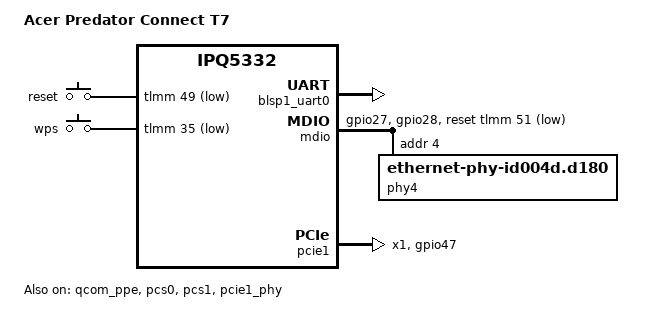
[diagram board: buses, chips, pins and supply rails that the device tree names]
/dts-v1/;

#include <arm64/qcom/ipq5332.dtsi>
#include <dt-bindings/gpio/gpio.h>
#include <dt-bindings/input/input.h>
#include <dt-bindings/leds/common.h>

/ {
	model = "Acer Predator Connect T7";
	compatible = "acer,predator-t7", "qcom,ipq5332-ap-mi01.6", "qcom,ipq5332";

	aliases {
		serial0 = &blsp1_uart0;
		ethernet0 = &xgmac2;
		ethernet1 = &xgmac1;
	};

	chosen {
		bootargs = "console=ttyMSM0,115200n8";
		stdout-path = "serial0:115200n8";
	};

	keys {
		compatible = "gpio-keys";

		pinctrl-0 = <&button_pins>;
		pinctrl-names = "default";

		reset-button {
			label = "reset";
			linux,code = <KEY_RESTART>;
			gpios = <&tlmm 49 GPIO_ACTIVE_LOW>;
			debounce-interval = <60>;
		};

		wps-button {
			label = "wps";
			linux,code = <KEY_WPS_BUTTON>;
			gpios = <&tlmm 35 GPIO_ACTIVE_LOW>;
			debounce-interval = <60>;
		};
	};
};

&blsp1_uart0 {
	pinctrl-0 = <&serial_0_pins>;
	pinctrl-names = "default";
	status = "okay";
};

&sleep_clk {
	clock-frequency = <32000>;
};

&xo_board {
	clock-frequency = <24000000>;
};

&qcom_ppe {
	status = "okay";

	ethernet-ports {
		#address-cells = <1>;
		#size-cells = <0>;

		xgmac1: port@1 {
			reg = <1>;
			phy-mode = "2500basex";
			managed = "in-band-status";
			label = "lan";
			pcs-handle = <&pcs0_ch0>;
			local-mac-address = [00 00 00 00 00 00];
			clocks = <&nsscc NSS_CC_PORT1_MAC_CLK>,
				 <&nsscc NSS_CC_PORT1_RX_CLK>,
				 <&nsscc NSS_CC_PORT1_TX_CLK>;
			clock-names = "mac",
				      "rx",
				      "tx";
			resets = <&nsscc NSS_CC_PORT1_MAC_CLK_ARES>,
				 <&nsscc NSS_CC_PORT1_RX_CLK_ARES>,
				 <&nsscc NSS_CC_PORT1_TX_CLK_ARES>;
			reset-names = "mac",
				      "rx",
				      "tx";
		};

		xgmac2: port@2 {
			reg = <2>;
			phy-mode = "2500basex";
			managed = "in-band-status";
			label = "wan";
			phy-handle = <&phy4>;
			pcs-handle = <&pcs1_ch0>;
			local-mac-address = [00 00 00 00 00 00];
			clocks = <&nsscc NSS_CC_PORT2_MAC_CLK>,
				 <&nsscc NSS_CC_PORT2_RX_CLK>,
				 <&nsscc NSS_CC_PORT2_TX_CLK>;
			clock-names = "mac",
				      "rx",
				      "tx";
			resets = <&nsscc NSS_CC_PORT2_MAC_CLK_ARES>,
				 <&nsscc NSS_CC_PORT2_RX_CLK_ARES>,
				 <&nsscc NSS_CC_PORT2_TX_CLK_ARES>;
			reset-names = "mac",
				      "rx",
				      "tx";
		};
	};
};

&pcs0 {
	status = "okay";
};

&pcs1 {
	status = "okay";
};

&mdio {
	status = "okay";

	pinctrl-names = "default";
	pinctrl-0 = <&mdio1_pins>;
	reset-gpios = <&tlmm 51 GPIO_ACTIVE_LOW>;

	phy4: ethernet-phy@4 {
		compatible = "ethernet-phy-id004d.d180";
		reg = <4>;
	};
};

&pcie1 {
	status = "okay";
	num-lanes = <1>;

	perst-gpios = <&tlmm 47 GPIO_ACTIVE_LOW>;
	wake-gpios = <&tlmm 48 GPIO_ACTIVE_LOW>;
	pinctrl-names = "default";
	pinctrl-0 = <&pcie1_pins>;

	pcie@0 {
		wifi@0,0 {
			reg = <0x00010000 0 0 0 0>;
			qcom,ath12k-board-id = <4117>;
		};
	};
};

&pcie1_phy {
	reg = <0x004b1000 0x800>;
	num-lanes = <1>;

	qti,multiplexed-phy;
	phy-ahb-shared-reset;

	status = "okay";
};

&tlmm {
	button_pins: button-state {
		pins = "gpio35", "gpio49";
		function = "gpio";
		drive-strength = <8>;
		bias-pull-up;
	};

	mdio1_pins: mdio1-state {
		mux_0 {
			pins = "gpio27";
			function = "mdc1";
			drive-strength = <8>;
			bias-disable;
		};

		mux_1 {
			pins = "gpio28";
			function = "mdio1";
			drive-strength = <8>;
			bias-pull-up;
		};
	};

	pcie1_pins: pci1-pinmux {
		pins = "gpio47";
		function = "gpio";
		drive-strength = <8>;
		bias-pull-up;
		output-high;
	};
};
